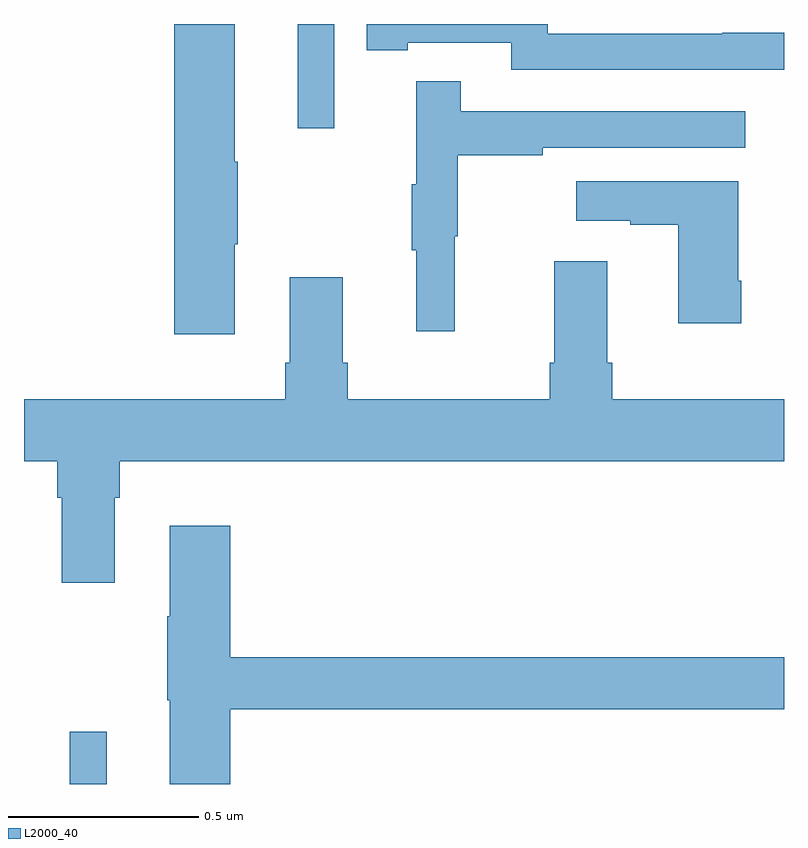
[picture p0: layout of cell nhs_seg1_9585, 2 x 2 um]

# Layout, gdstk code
import gdstk
lib = gdstk.Library(unit=1e-6, precision=1e-09)
def R(c, l, rs):  # rectangles x0, y0, x1, y1
    for r in rs: c.add(gdstk.rectangle(r[:2], r[2:], *l))
def P(c, l, *ps):  # polygons
    for p in ps: c.add(gdstk.Polygon(p, *l))
L2000_40 = (2000, 40)

nhs_seg1_9585 = lib.new_cell('nhs_seg1_9585')
R(nhs_seg1_9585, L2000_40, [(230.121,568.199,230.218,568.336), (230.72,569.925,230.817,570.199)])
P(nhs_seg1_9585, L2000_40, [(230.554,569.62),(230.562,569.62),(230.562,569.837),(230.554,569.837),(230.554,570.199),(230.396,570.199),(230.396,569.382),(230.554,569.382)],
  [(232,570.176),(231.838,570.176),(231.838,570.174),(231.378,570.174),(231.378,570.199),(230.902,570.199),(230.902,570.13),(231.01,570.13),(231.01,570.15),(231.282,570.15),(231.282,570.078),(232,570.078)],
  [(231.134,569.64),(231.142,569.64),(231.142,569.854),(231.365,569.854),(231.365,569.874),(231.898,569.874),(231.898,569.97),(231.149,569.97),(231.149,570.049),(231.032,570.049),(231.032,569.777),(231.021,569.777),(231.021,569.603),(231.032,569.603),(231.032,569.391),(231.134,569.391)],
  [(231.888,569.524),(231.88,569.524),(231.88,569.785),(231.453,569.785),(231.453,569.681),(231.596,569.681),(231.596,569.671),(231.722,569.671),(231.722,569.412),(231.888,569.412)],
  [(230.239,568.952),(230.252,568.952),(230.252,569.048),(232,569.048),(232,569.212),(231.548,569.212),(231.548,569.308),(231.535,569.308),(231.535,569.575),(231.395,569.575),(231.395,569.308),(231.383,569.308),(231.383,569.212),(230.852,569.212),(230.852,569.308),(230.839,569.308),(230.839,569.533),(230.699,569.533),(230.699,569.308),(230.687,569.308),(230.687,569.212),(230,569.212),(230,569.048),(230.087,569.048),(230.087,568.952),(230.099,568.952),(230.099,568.728),(230.239,568.728)],
  [(230.543,568.396),(232,568.396),(232,568.532),(230.543,568.532),(230.543,568.879),(230.384,568.879),(230.384,568.64),(230.377,568.64),(230.377,568.419),(230.384,568.419),(230.384,568.199),(230.543,568.199)])

lib.write_gds('nhs_seg1_9585.gds')
